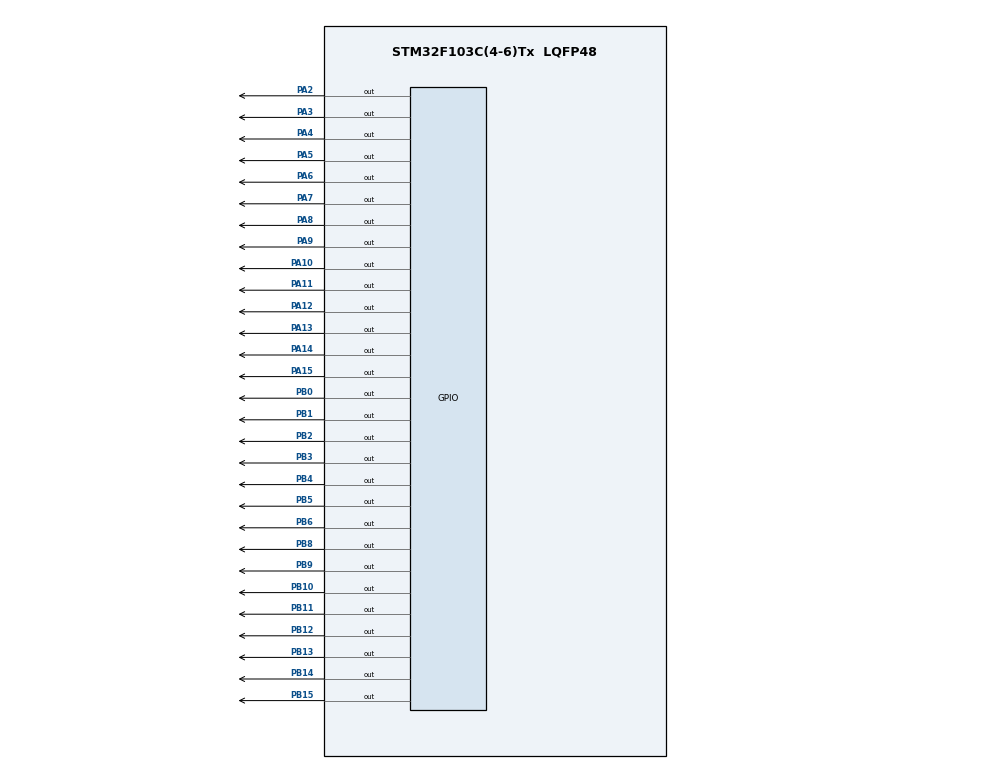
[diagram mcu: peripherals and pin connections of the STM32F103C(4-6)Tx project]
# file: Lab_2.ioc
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Mcu.Family=STM32F1
Mcu.Name=STM32F103C(4-6)Tx
Mcu.Package=LQFP48
NVIC.PriorityGroup=NVIC_PRIORITYGROUP_4
NVIC.TIM2_IRQn=true\:0\:0\:false\:false\:true\:true\:true
PA10.Signal=GPIO_Output
PA11.Signal=GPIO_Output
PA12.Signal=GPIO_Output
PA13.Signal=GPIO_Output
PA14.Signal=GPIO_Output
PA15.Signal=GPIO_Output
PA2.Signal=GPIO_Output
PA3.Signal=GPIO_Output
PA4.Signal=GPIO_Output
PA5.Signal=GPIO_Output
PA6.Signal=GPIO_Output
PA7.Signal=GPIO_Output
PA8.Signal=GPIO_Output
PA9.Signal=GPIO_Output
PB0.Signal=GPIO_Output
PB1.Signal=GPIO_Output
PB10.Signal=GPIO_Output
PB11.Signal=GPIO_Output
PB12.Signal=GPIO_Output
PB13.Signal=GPIO_Output
PB14.Signal=GPIO_Output
PB15.Signal=GPIO_Output
PB2.Signal=GPIO_Output
PB3.Signal=GPIO_Output
PB4.Signal=GPIO_Output
PB5.Signal=GPIO_Output
PB6.Signal=GPIO_Output
PB8.Signal=GPIO_Output
PB9.Signal=GPIO_Output
ProjectManager.HeapSize=0x200
ProjectManager.StackSize=0x400
ProjectManager.TargetToolchain=STM32CubeIDE
RCC.APB1Freq_Value=8000000
RCC.APB2Freq_Value=8000000
TIM2.Period=9
TIM2.Prescaler=7999
VP_SYS_VS_ND.Mode=No_Debug
VP_TIM2_VS_ClockSourceINT.Mode=Internal
board=custom

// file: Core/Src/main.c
/* USER CODE BEGIN Header */
/**
  ******************************************************************************
  * @file           : main.c
  * @brief          : Main program body
  ******************************************************************************
  * @attention
  *
  * <h2><center>&copy; Copyright (c) 2022 STMicroelectronics.
  * All rights reserved.</center></h2>
  *
  * This software component is licensed by ST under BSD 3-Clause license,
  * the "License"; You may not use this file except in compliance with the
  * License. You may obtain a copy of the License at:
  *                        opensource.org/licenses/BSD-3-Clause
  *
  ******************************************************************************
  */
/* USER CODE END Header */
#include "main.h"

TIM_HandleTypeDef htim2;

/* USER CODE BEGIN PV */
const int MAX_LED = 4;
int index_led = 0;
int led_buffer [4] = {0, 0, 0, 0};

int hour = 15, minute = 8, second = 50;

const int MAX_LED_MATRIX = 8;
int index_led_matrix = 0;
uint8_t matrix_buffer[8] = {0x01, 0x06, 0x38, 0xC8, 0xC8, 0x38, 0x06, 0x01};
uint16_t row_pin[8] = {ROW0,ROW1,ROW2,ROW3,ROW4,ROW5,ROW6,ROW7};
uint16_t col_pin[8] = {ENM0,ENM1,ENM2,ENM3,ENM4,ENM5,ENM6,ENM7};

int TIMER_CYCLE = 10;
int timer0_counter = 0;
int timer0_flag = 0;

int timer1_counter = 0;
int timer1_flag = 0;

int timer2_counter = 0;
int timer2_flag = 0;
/* USER CODE END PV */

void SystemClock_Config(void);
static void MX_TIM2_Init(void);
static void MX_GPIO_Init(void);
/* USER CODE BEGIN PFP */
void update7SEG(int);
void updateClockBuffer(void);
void display7SEG(int);
void updateLEDMatrix(int);

void setTimer0(int);
void setTimer1(int);
void setTimer2(int);
void timer_run(void);
/* USER CODE END PFP */

int main(void)
{

  /* MCU Configuration--------------------------------------------------------*/

  /* Reset of all peripherals, Initializes the Flash interface and the Systick. */
  HAL_Init();

  /* Configure the system clock */
  SystemClock_Config();

  /* Initialize all configured peripherals */
  MX_TIM2_Init();
  MX_GPIO_Init();
  /* USER CODE BEGIN 2 */
  HAL_TIM_Base_Start_IT(&htim2);
  /* USER CODE END 2 */

  /* Infinite loop */
  /* USER CODE BEGIN WHILE */
  setTimer0(10);
  setTimer1(10);
  setTimer2(10);

  HAL_GPIO_WritePin(ROW_PORT, ROW0|ROW1|ROW2|ROW3|ROW4|ROW5|ROW6|ROW7, 1);
  HAL_GPIO_WritePin(ENM_PORT, ENM0|ENM1|ENM2|ENM3|ENM4|ENM5|ENM6|ENM7, 1);

  HAL_GPIO_WritePin(ROW_PORT, ROW7, 0);
  HAL_GPIO_WritePin(ENM_PORT, ENM7, 0);
  while (1)
  {
    /* USER CODE END WHILE */

    /* USER CODE BEGIN 3 */
	  if(timer0_flag) {
	  		  timer0_flag = 0;
	  		  setTimer0(1000);

	  		  HAL_GPIO_TogglePin(DOT_PORT, DOT);
	  		  HAL_GPIO_TogglePin(RLED_PORT, RLED1);

	  		  second++;
	  		  if(second >= 60) {
	  			  second = 0;
	  			  minute++;
	  		  }
	  		  if(minute >= 60) {
	  			  minute = 0;
	  			  hour++;
	  		  }
	  		  if(hour >= 24) {
	  			  hour = 0;
	  		  }
	  		  updateClockBuffer();
	  	  }
	  	  if(timer1_flag) {
	  		  timer1_flag = 0;
	  		  setTimer1(250);

	  		  update7SEG(index_led++);
	  		  if(index_led == MAX_LED) index_led = 0;
	  	  }
	  	  if(timer2_flag) {
	  		  timer2_flag = 0;
	  		  setTimer2(10);

	  		  updateLEDMatrix(index_led_matrix++);
	  		  if(index_led_matrix == MAX_LED_MATRIX) index_led_matrix = 0;
	  	  }
  }
  /* USER CODE END 3 */
}

void SystemClock_Config(void)
{
  RCC_OscInitTypeDef RCC_OscInitStruct = {0};
  RCC_ClkInitTypeDef RCC_ClkInitStruct = {0};

  /** Initializes the RCC Oscillators according to the specified parameters
  * in the RCC_OscInitTypeDef structure.
  */
  RCC_OscInitStruct.OscillatorType = RCC_OSCILLATORTYPE_HSI;
  RCC_OscInitStruct.HSIState = RCC_HSI_ON;
  RCC_OscInitStruct.HSICalibrationValue = RCC_HSICALIBRATION_DEFAULT;
  RCC_OscInitStruct.PLL.PLLState = RCC_PLL_NONE;
  if (HAL_RCC_OscConfig(&RCC_OscInitStruct) != HAL_OK)
  {
    Error_Handler();
  }
  /** Initializes the CPU, AHB and APB buses clocks
  */
  RCC_ClkInitStruct.ClockType = RCC_CLOCKTYPE_HCLK|RCC_CLOCKTYPE_SYSCLK
                              |RCC_CLOCKTYPE_PCLK1|RCC_CLOCKTYPE_PCLK2;
  RCC_ClkInitStruct.SYSCLKSource = RCC_SYSCLKSOURCE_HSI;
  RCC_ClkInitStruct.AHBCLKDivider = RCC_SYSCLK_DIV1;
  RCC_ClkInitStruct.APB1CLKDivider = RCC_HCLK_DIV1;
  RCC_ClkInitStruct.APB2CLKDivider = RCC_HCLK_DIV1;

  if (HAL_RCC_ClockConfig(&RCC_ClkInitStruct, FLASH_LATENCY_0) != HAL_OK)
  {
    Error_Handler();
  }
}

static void MX_TIM2_Init(void)
{

  TIM_ClockConfigTypeDef sClockSourceConfig = {0};
  TIM_MasterConfigTypeDef sMasterConfig = {0};

  htim2.Instance = TIM2;
  htim2.Init.Prescaler = 7999;
  htim2.Init.CounterMode = TIM_COUNTERMODE_UP;
  htim2.Init.Period = 9;
  htim2.Init.ClockDivision = TIM_CLOCKDIVISION_DIV1;
  htim2.Init.AutoReloadPreload = TIM_AUTORELOAD_PRELOAD_DISABLE;
  if (HAL_TIM_Base_Init(&htim2) != HAL_OK)
  {
    Error_Handler();
  }
  sClockSourceConfig.ClockSource = TIM_CLOCKSOURCE_INTERNAL;
  if (HAL_TIM_ConfigClockSource(&htim2, &sClockSourceConfig) != HAL_OK)
  {
    Error_Handler();
  }
  sMasterConfig.MasterOutputTrigger = TIM_TRGO_RESET;
  sMasterConfig.MasterSlaveMode = TIM_MASTERSLAVEMODE_DISABLE;
  if (HAL_TIMEx_MasterConfigSynchronization(&htim2, &sMasterConfig) != HAL_OK)
  {
    Error_Handler();
  }

}

static void MX_GPIO_Init(void)
{
  GPIO_InitTypeDef GPIO_InitStruct = {0};

  /* GPIO Ports Clock Enable */
  __HAL_RCC_GPIOA_CLK_ENABLE();
  __HAL_RCC_GPIOB_CLK_ENABLE();

  /*Configure GPIO pin Output Level */
  HAL_GPIO_WritePin(GPIOA, GPIO_PIN_2|GPIO_PIN_3|GPIO_PIN_4|GPIO_PIN_5
                          |GPIO_PIN_6|GPIO_PIN_7|GPIO_PIN_8|GPIO_PIN_9
                          |GPIO_PIN_10|GPIO_PIN_11|GPIO_PIN_12|GPIO_PIN_13
                          |GPIO_PIN_14|GPIO_PIN_15, GPIO_PIN_RESET);

  /*Configure GPIO pin Output Level */
  HAL_GPIO_WritePin(GPIOB, GPIO_PIN_0|GPIO_PIN_1|GPIO_PIN_2|GPIO_PIN_10
                          |GPIO_PIN_11|GPIO_PIN_12|GPIO_PIN_13|GPIO_PIN_14
                          |GPIO_PIN_15|GPIO_PIN_3|GPIO_PIN_4|GPIO_PIN_5
                          |GPIO_PIN_6|GPIO_PIN_8|GPIO_PIN_9, GPIO_PIN_RESET);

  /*Configure GPIO pins : PA2 PA3 PA4 PA5
                           PA6 PA7 PA8 PA9
                           PA10 PA11 PA12 PA13
                           PA14 PA15 */
  GPIO_InitStruct.Pin = GPIO_PIN_2|GPIO_PIN_3|GPIO_PIN_4|GPIO_PIN_5
                          |GPIO_PIN_6|GPIO_PIN_7|GPIO_PIN_8|GPIO_PIN_9
                          |GPIO_PIN_10|GPIO_PIN_11|GPIO_PIN_12|GPIO_PIN_13
                          |GPIO_PIN_14|GPIO_PIN_15;
  GPIO_InitStruct.Mode = GPIO_MODE_OUTPUT_PP;
  GPIO_InitStruct.Pull = GPIO_NOPULL;
  GPIO_InitStruct.Speed = GPIO_SPEED_FREQ_LOW;
  HAL_GPIO_Init(GPIOA, &GPIO_InitStruct);

  /*Configure GPIO pins : PB0 PB1 PB2 PB10
                           PB11 PB12 PB13 PB14
                           PB15 PB3 PB4 PB5
                           PB6 PB8 PB9 */
  GPIO_InitStruct.Pin = GPIO_PIN_0|GPIO_PIN_1|GPIO_PIN_2|GPIO_PIN_10
                          |GPIO_PIN_11|GPIO_PIN_12|GPIO_PIN_13|GPIO_PIN_14
                          |GPIO_PIN_15|GPIO_PIN_3|GPIO_PIN_4|GPIO_PIN_5
                          |GPIO_PIN_6|GPIO_PIN_8|GPIO_PIN_9;
  GPIO_InitStruct.Mode = GPIO_MODE_OUTPUT_PP;
  GPIO_InitStruct.Pull = GPIO_NOPULL;
  GPIO_InitStruct.Speed = GPIO_SPEED_FREQ_LOW;
  HAL_GPIO_Init(GPIOB, &GPIO_InitStruct);

}

/* USER CODE BEGIN 4 */
void display7SEG(int num) {
	HAL_GPIO_WritePin(SEG_PORT, SEG0 | SEG1 | SEG2 | SEG3 | SEG4 | SEG5 | SEG6, 1);
		switch(num) {
		case 0:
			HAL_GPIO_WritePin(SEG_PORT, SEG0 | SEG1 | SEG2 | SEG3 | SEG4 | SEG5, 0);
			break;
		case 1:
			HAL_GPIO_WritePin(SEG_PORT, SEG1 | SEG2, 0);
			break;
		case 2:
			HAL_GPIO_WritePin(SEG_PORT, SEG0 | SEG1 | SEG3 | SEG4 | SEG6, 0);
			break;
		case 3:
			HAL_GPIO_WritePin(SEG_PORT, SEG0 | SEG1 | SEG2 | SEG3 | SEG6, 0);
			break;
		case 4:
			HAL_GPIO_WritePin(SEG_PORT, SEG1 | SEG2 | SEG5 | SEG6, 0);
			break;
		case 5:
			HAL_GPIO_WritePin(SEG_PORT, SEG0 | SEG2 | SEG3 | SEG5 | SEG6, 0);
			break;
		case 6:
			HAL_GPIO_WritePin(SEG_PORT, SEG0 | SEG2 | SEG3 | SEG4 | SEG5 | SEG6, 0);
			break;
		case 7:
			HAL_GPIO_WritePin(SEG_PORT, SEG0 | SEG1 | SEG2, 0);
			break;
		case 8:
			HAL_GPIO_WritePin(SEG_PORT, SEG0 | SEG1 | SEG2 | SEG3 | SEG4 | SEG5 | SEG6, 0);
			break;
		case 9:
			HAL_GPIO_WritePin(SEG_PORT, SEG0 | SEG1 | SEG2 | SEG3 | SEG5 | SEG6, 0);
			break;
		}
}

void update7SEG(int index) {
	HAL_GPIO_WritePin(EN_PORT, EN0 | EN1 | EN2 | EN3, 1);
	display7SEG(led_buffer[index]);

	switch(index) {
	case 0:
		HAL_GPIO_WritePin(EN_PORT, EN0, 0);
		break;
	case 1:
		HAL_GPIO_WritePin(EN_PORT, EN1, 0);
		break;
	case 2:
		HAL_GPIO_WritePin(EN_PORT, EN2, 0);
		break;
	case 3:
		HAL_GPIO_WritePin(EN_PORT, EN3, 0);
		break;
	default:
		break;
	}
}

void updateLEDMatrix(int index) {
	HAL_GPIO_WritePin(ROW_PORT, ROW0|ROW1|ROW2|ROW3|ROW4|ROW5|ROW6|ROW7, 1);
	HAL_GPIO_WritePin(ENM_PORT, ENM0|ENM1|ENM2|ENM3|ENM4|ENM5|ENM6|ENM7, 1);

	for(int i = 0; i < 8; i++) {
		if(matrix_buffer[index] & (0x80 >> i)) {
			HAL_GPIO_WritePin(ROW_PORT, row_pin[i], 0);
		}
	}

	HAL_GPIO_WritePin(ENM_PORT, col_pin[index], 0);
}

void updateClockBuffer() {
	led_buffer[0] = hour / 10;
	led_buffer[1] = hour % 10;
	led_buffer[2] = minute / 10;
	led_buffer[3] = minute % 10;
}

void setTimer0(int duration) {
	timer0_counter = duration / TIMER_CYCLE;
	timer0_flag = 0;
}
void setTimer1(int duration) {
	timer1_counter = duration / TIMER_CYCLE;
	timer1_flag = 0;
}
void setTimer2(int duration) {
	timer2_counter = duration / TIMER_CYCLE;
	timer2_flag = 0;
}

void timer_run() {
	if(timer0_counter > 0) {
		timer0_counter--;
		if(timer0_counter == 0) {
			timer0_flag = 1;
		}
	}

	if(timer1_counter > 0) {
		timer1_counter--;
		if(timer1_counter == 0) {
			timer1_flag = 1;
		}
	}

	if(timer2_counter > 0) {
		timer2_counter--;
		if(timer2_counter == 0) {
			timer2_flag = 1;
		}
	}
}

void HAL_TIM_PeriodElapsedCallback(TIM_HandleTypeDef*htim) {
	timer_run();
}

/* USER CODE END 4 */

void Error_Handler(void)
{
  __disable_irq();
  while (1)
  {
  }
}

/************************ (C) COPYRIGHT STMicroelectronics *****END OF FILE****/
